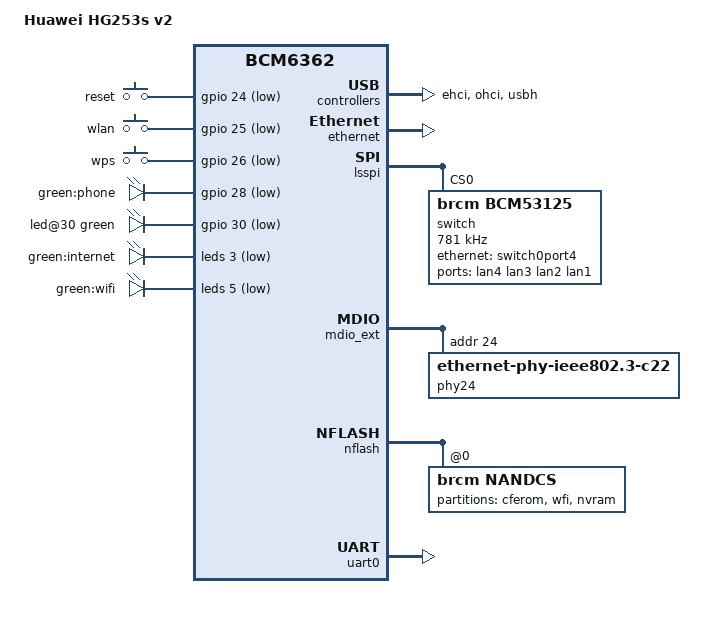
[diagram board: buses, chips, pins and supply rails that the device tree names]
// SPDX-License-Identifier: GPL-2.0-or-later

#include "bcm6362.dtsi"

/ {
	model = "Huawei HG253s v2";
	compatible = "huawei,hg253s-v2", "brcm,bcm6362";

	aliases {
		led-boot = &led_phone_green;
		led-failsafe = &led_phone_green;
		led-upgrade = &led_phone_green;
	};

	keys {
		compatible = "gpio-keys-polled";
		poll-interval = <100>;

		reset {
			label = "reset";
			gpios = <&gpio 24 GPIO_ACTIVE_LOW>;
			linux,code = <KEY_RESTART>;
			debounce-interval = <60>;
		};

		wlan {
			label = "wlan";
			gpios = <&gpio 25 GPIO_ACTIVE_LOW>;
			linux,code = <KEY_WLAN>;
			debounce-interval = <60>;
		};

		wps {
			label = "wps";
			gpios = <&gpio 26 GPIO_ACTIVE_LOW>;
			linux,code = <KEY_WPS_BUTTON>;
			debounce-interval = <60>;
		};
	};

	leds {
		compatible = "gpio-leds";

		led_phone_green: led@28 {
			label = "green:phone";
			gpios = <&gpio 28 GPIO_ACTIVE_LOW>;
		};

		led@30 {
			function = LED_FUNCTION_USB;
			color = <LED_COLOR_ID_GREEN>;
			gpios = <&gpio 30 GPIO_ACTIVE_LOW>;
		};
	};
};

&ehci {
	status = "okay";
};

&ethernet {
	status = "okay";

	nvmem-cells = <&macaddr_cferom_6a0>;
	nvmem-cell-names = "mac-address";
};

&leds {
	status = "okay";

	pinctrl-names = "default";
	pinctrl-0 = <&pinctrl_leds>;

	led@3 {
		reg = <3>;
		active-low;
		label = "green:internet";
	};

	led@5 {
		reg = <5>;
		active-low;
		label = "green:wifi";
	};
};

&lsspi {
	status = "okay";

	switch@0 {
		compatible = "brcm,bcm53125";
		reg = <0>;
		spi-max-frequency = <781000>;

		dsa,member = <1 0>;

		ports {
			#address-cells = <1>;
			#size-cells = <0>;

			port@1 {
				reg = <1>;
				label = "lan4";
			};

			port@2 {
				reg = <2>;
				label = "lan3";
			};

			port@3 {
				reg = <3>;
				label = "lan2";
			};

			port@4 {
				reg = <4>;
				label = "lan1";
			};

			port@8 {
				reg = <8>;

				phy-mode = "rgmii";
				ethernet = <&switch0port4>;

				fixed-link {
					speed = <1000>;
					full-duplex;
					asym-pause;
					pause;
				};
			};
		};
	};
};

&mdio_ext {
	phy24: ethernet-phy@18 {
		compatible = "ethernet-phy-ieee802.3-c22";
		reg = <24>;
	};
};

&nflash {
	status = "okay";

	nandcs@0 {
		compatible = "brcm,nandcs";
		reg = <0>;
		nand-ecc-step-size = <512>;
		nand-ecc-strength = <15>;
		nand-on-flash-bbt;
		brcm,nand-oob-sector-size = <64>;

		#address-cells = <1>;
		#size-cells = <1>;

		partitions {
			compatible = "fixed-partitions";
			#address-cells = <1>;
			#size-cells = <1>;

			partition@0 {
				label = "cferom";
				reg = <0x0000000 0x0020000>;
				read-only;

				nvmem-layout {
					compatible = "fixed-layout";
					#address-cells = <1>;
					#size-cells = <1>;

					macaddr_cferom_6a0: macaddr@6a0 {
						reg = <0x6a0 0x6>;
					};
				};
			};

			partition@20000 {
				compatible = "brcm,wfi";
				label = "wfi";
				reg = <0x0020000 0x7d80000>;
			};

			partition@7da0000 {
				label = "nvram";
				reg = <0x7da0000 0x160000>;
			};
		};
	};
};

&ohci {
	status = "okay";
};

&pinctrl {
	pinctrl_leds: leds {
		function = "led";
		pins = "gpio3", "gpio5";
	};
};

&switch0 {
	dsa,member = <0 0>;

	ports {
		switch0port4: port@4 {
			reg = <4>;
			label = "extsw";

			phy-mode = "rgmii";

			fixed-link {
				speed = <1000>;
				full-duplex;
			};
		};

		port@5 {
			reg = <5>;
			label = "wan";

			phy-handle = <&phy24>;
			phy-mode = "rgmii-txid";
		};
	};
};

&uart0 {
	status = "okay";
};

&usbh {
	status = "okay";
};
